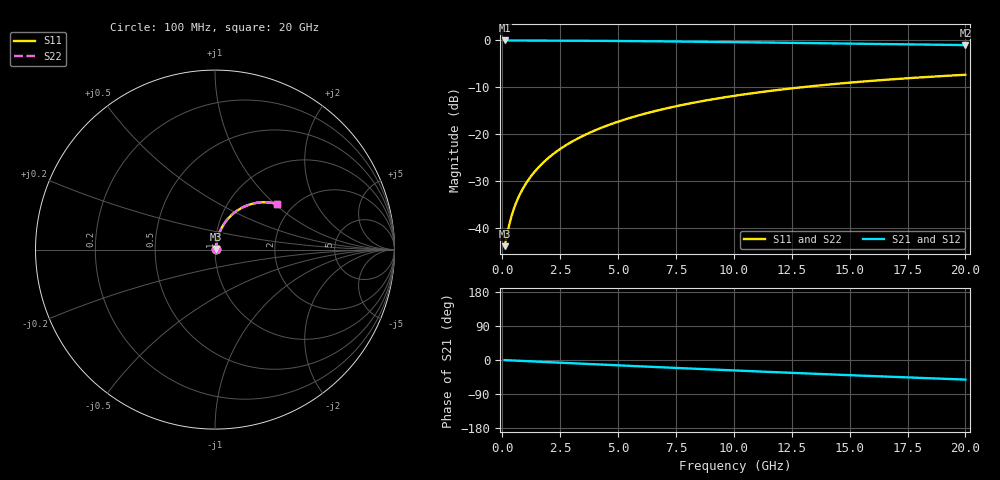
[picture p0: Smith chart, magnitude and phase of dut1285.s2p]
! Touchstone file exported from HFSS 2026.1.0
!  File:  C:/ffzhzh/LocalFiles/Ansys_Project_Files/temp_train_TMRDL_1285_1783164419_55132.aedt
!  Generated:  07:28:10 PM Jul  4, 2026
!  Design:  TMRDL
!  Project:  temp_train_TMRDL_1285_1783164419_55132
! Variables:
!  h_bsmrdl = 2um
!  h_ox = 20um
!  h_rdl = 5um
!  h_sub = 80um
!  h_tmrdl = 2.92um
!  h_tsv = 80um
!  h_via = 3um
!  l_bsmrdl = 300um
!  l_sub = 1205.29um
!  l_tmrdl = 805.29um
!  m_sub = 200um
!  pitch = 37.71um
!  r_tsv = 6um
!  s_tmrdl = 10um
!  w_bsmrdl = 18um
!  w_sub = 500um
!  w_tmrdl = 17.65um
!  x_tsv_center1 = 814.115um
!  x_tsv_center2 = 1132.115um
!  x_tsv_center3 = 1955.055um
!  x_tsv_center4 = 2273.055um
!  x_tsv_center5 = 3095.995um
!  x_tsv_center6 = 3413.995um
# GHz S MA R 50.000000
! Terminal data exported
! Port[1] = TM_RDL1_1_T1
! Port[2] = TM_RDL1_1_T2
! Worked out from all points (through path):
!   200 points, 100 MHz to 20 GHz, reference 50 ohm
!   highest |S21| = -0.05 dB at 100 MHz (marker M1); lowest = -1.0 dB at 20 GHz (marker M2)
!   group delay of S21, straight-line fit = 7.19 ps
!   lowest |S11| = -43.8 dB at 100 MHz (marker M3), VSWR 1.01, Z = 50.6 + j0.31 ohm
!   |S11| at or under -10 dB: start of sweep to 12.95 GHz
!   |S22| runs from -43.8 to -7.4 dB; largest |S21 - S12| = 2.2e-15
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0.1  0.006442 28.4  0.9943 -0.3  0.9943 -0.3  0.006442 28.4
! Gamma 0 0 0 0
! Port Impedance 50 0 50 0
0.3  0.01089 55.6  0.9939 -0.9  0.9939 -0.9  0.01089 55.6
0.4  0.01348 61.3  0.9937 -1.2  0.9937 -1.2  0.01348 61.3
0.5  0.0161 65.0  0.9935 -1.5  0.9935 -1.5  0.0161 65.0
0.6  0.01873 67.6  0.9933 -1.8  0.9933 -1.8  0.01873 67.6
0.8  0.024 71.1  0.9929 -2.3  0.9929 -2.3  0.024 71.1
1  0.02931 73.2  0.9926 -2.9  0.9926 -2.9  0.02931 73.2
1.2  0.03465 74.6  0.9923 -3.5  0.9923 -3.5  0.03465 74.6
1.4  0.04001 75.5  0.992 -4.0  0.992 -4.0  0.04001 75.5
1.7  0.04809 76.3  0.9915 -4.9  0.9915 -4.9  0.04809 76.3
2.2  0.06159 76.6  0.9905 -6.3  0.9905 -6.3  0.06159 76.6
2.8  0.07777 76.2  0.9891 -8.0  0.9891 -8.0  0.07777 76.2
3.5  0.09653 75.2  0.9872 -9.9  0.9872 -9.9  0.09653 75.2
4.2  0.1151 73.8  0.9848 -11.9  0.9848 -11.9  0.1151 73.8
5  0.136 72.1  0.9817 -14.1  0.9817 -14.1  0.136 72.1
5.9  0.159 70.0  0.9777 -16.6  0.9777 -16.6  0.159 70.0
6.8  0.1814 67.7  0.9733 -19.0  0.9733 -19.0  0.1814 67.8
8.3  0.2173 64.0  0.965 -23.1  0.965 -23.1  0.2173 64.0
10.1  0.2579 59.5  0.9539 -27.8  0.9539 -27.8  0.2579 59.5
13.4  0.3248 51.4  0.9319 -36.1  0.9319 -36.1  0.3248 51.4
16.7  0.3818 43.7  0.9093 -44.1  0.9093 -44.1  0.3818 43.7
20  0.429 36.3  0.8878 -51.7  0.8878 -51.7  0.429 36.3
